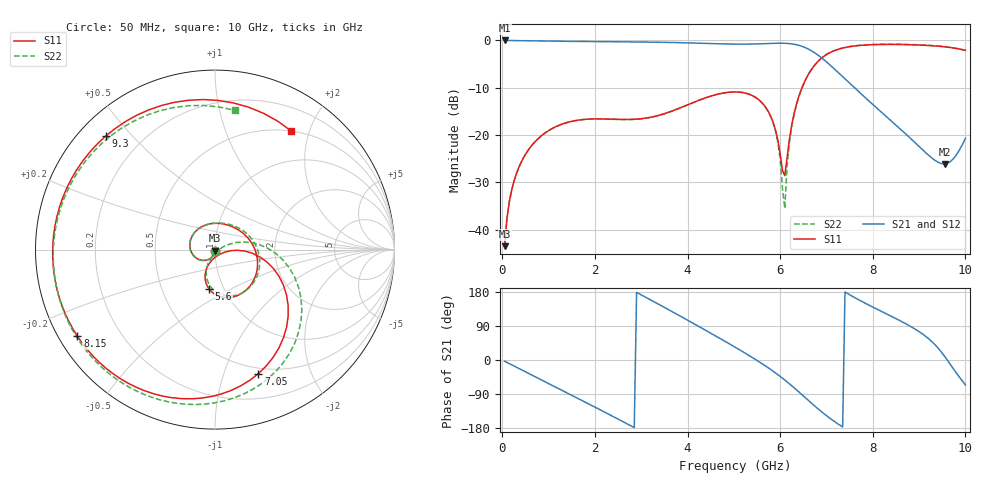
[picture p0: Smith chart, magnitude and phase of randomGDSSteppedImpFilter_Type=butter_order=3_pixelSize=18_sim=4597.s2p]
! freq	dB(S11)	phase(S11)	dB(S12)	phase(S12)
!  dB(S21)	phase(S21)	dB(S22)	phase(S22)
!S-par simulation data
#  GHz  S  DB  R 50
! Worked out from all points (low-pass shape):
!   200 points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, 50 MHz to 10 GHz, reference 50 ohm
!   highest |S21| = -0.01 dB at 50 MHz (marker M1); lowest = -26.1 dB at 9.55 GHz (marker M2)
!   |S21| within 3 dB of the highest: start of sweep to 6.804 GHz
!   lowest |S11| = -43.5 dB at 50 MHz (marker M3), VSWR 1.01, Z = 50 - j0.671 ohm
!   |S11| at or under -10 dB: start of sweep to 6.472 GHz
!   |S22| runs from -43.5 to -0.8 dB; largest |S21 - S12| = 0
!   S11 on the Smith chart (normalised r, x): 50 MHz: 1.00, -0.01; 5.6 GHz: 0.85, -0.39; 7.05 GHz: 0.44, -1.31; 8.15 GHz: 0.05, -0.29; 9.3 GHz: 0.08, +0.42; 10 GHz: 0.50, +1.72
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0.05  -43.46 -90.1  -0.01 -3.2  -0.01 -3.2  -43.46 -90.1
0.2  -31.72 -101.9  -0.02 -12.5  -0.02 -12.5  -31.72 -101.6
0.5  -24.07 -121.8  -0.06 -31.2  -0.06 -31.2  -24.07 -121.1
1.15  -18.24 -163.2  -0.15 -71.4  -0.15 -71.4  -18.25 -161.3
1.75  -16.70 158.5  -0.22 -108.7  -0.22 -108.7  -16.71 162.1
2.65  -16.70 99.5  -0.30 -165.5  -0.30 -165.5  -16.71 107.0
3.4  -15.77 49.1  -0.38 145.5  -0.38 145.5  -15.79 59.4
4.2  -12.82 -4.0  -0.57 91.5  -0.57 91.5  -12.82 5.7
5.05  -10.88 -61.0  -0.78 32.2  -0.78 32.2  -10.88 -53.3
5.6  -13.08 -98.6  -0.70 -8.9  -0.70 -8.9  -13.11 -93.3
5.9  -18.93 -114.1  -0.60 -34.2  -0.60 -34.2  -19.20 -114.7
6.1  -28.58 -44.7  -0.60 -52.8  -0.60 -52.8  -35.50 -16.8
6.2  -20.88 -3.7  -0.67 -62.8  -0.67 -62.8  -21.56 20.8
6.3  -15.51 -2.9  -0.81 -73.2  -0.81 -73.2  -15.69 15.1
6.7  -5.80 -37.4  -2.33 -116.5  -2.33 -116.5  -5.80 -24.5
7.05  -2.71 -70.7  -4.95 -151.5  -4.95 -151.5  -2.69 -58.5
7.55  -1.24 -109.6  -9.50 168.7  -9.50 168.7  -1.21 -97.1
8.15  -0.86 -147.8  -14.82 130.6  -14.82 130.6  -0.82 -133.9
8.35  -0.84 -159.9  -16.55 118.5  -16.55 118.5  -0.80 -145.3
9.3  -1.13 133.9  -25.02 45.8  -25.02 45.8  -1.09 153.7
9.55  -1.34 110.5  -26.08 10.0  -26.08 10.0  -1.32 132.3
10  -2.10 57.2  -20.70 -65.7  -20.70 -65.7  -2.12 81.9
